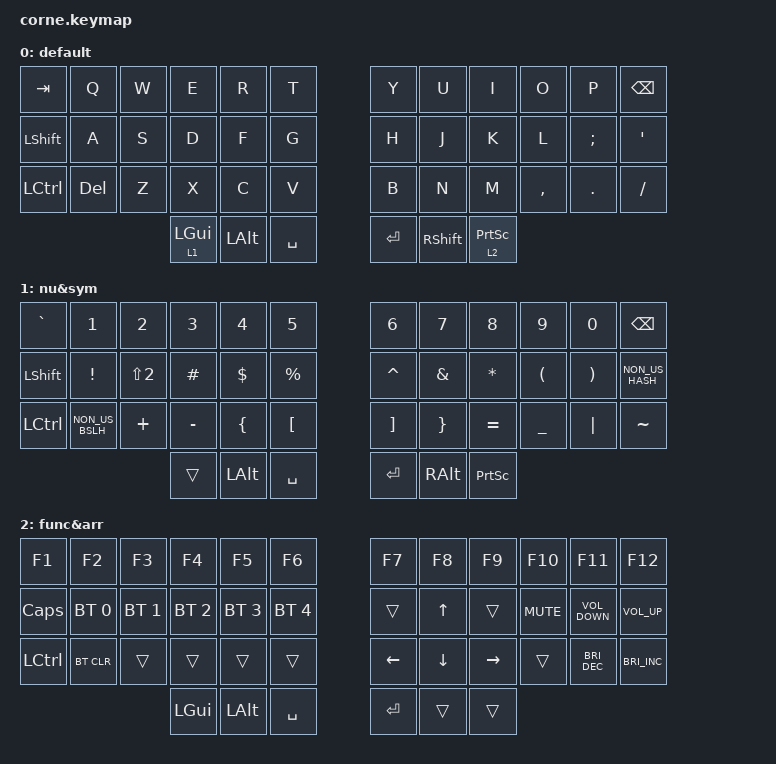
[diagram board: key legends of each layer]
/*
 * Copyright (c) 2020 The ZMK Contributors
 *
 * SPDX-License-Identifier: MIT
 */

#include <behaviors.dtsi>
#include <dt-bindings/zmk/bt.h>
#include <dt-bindings/zmk/keys.h>

/ {
    combos {
        compatible = "zmk,combos";

        Escape {
            bindings = <&kp ESC>;
            key-positions = <0 1>;
        };
    };

    keymap {
        compatible = "zmk,keymap";

        default_layer {
            // -----------------------------------------------------------------------------------------
            // |  TAB |  Q  |  W  |  E  |  R  |  T  |   |  Y  |  U   |  I  |  O  |  P  | BKSP |
            // | CTRL |  A  |  S  |  D  |  F  |  G  |   |  H  |  J   |  K  |  L  |  ;  |  '   |
            // | SHFT |  Z  |  X  |  C  |  V  |  B  |   |  N  |  M   |  ,  |  .  |  /  | ESC  |
            //                    | GUI | LWR | SPC |   | ENT | RSE  | ALT |

            bindings = <
&kp TAB     &kp Q    &kp W  &kp E       &kp R     &kp T        &kp Y      &kp U       &kp I              &kp O      &kp P     &kp BSPC
&kp LSHIFT  &kp A    &kp S  &kp D       &kp F     &kp G        &kp H      &kp J       &kp K              &kp L      &kp SEMI  &kp SQT
&kp LCTRL   &kp DEL  &kp Z  &kp X       &kp C     &kp V        &kp B      &kp N       &kp M              &kp COMMA  &kp DOT   &kp FSLH
                            &lt 1 LGUI  &kp LALT  &kp SPACE    &kp ENTER  &kp RSHIFT  &lt 2 PRINTSCREEN
            >;

            label = "default";
        };

        number+sysmbol {
            // -----------------------------------------------------------------------------------------
            // |  TAB |  1  |  2  |  3  |  4  |  5  |   |  6  |  7  |  8  |  9  |  0  | BKSP |
            // | BTCLR| BT1 | BT2 | BT3 | BT4 | BT5 |   | LFT | DWN |  UP | RGT |     |      |
            // | SHFT |     |     |     |     |     |   |     |     |     |     |     |      |
            //                    | GUI |     | SPC |   | ENT |     | ALT |

            bindings = <
&kp GRAVE   &kp N1           &kp N2            &kp N3     &kp N4          &kp N5         &kp N6     &kp N7           &kp N8           &kp N9                &kp N0                 &kp BSPC
&kp LSHIFT  &kp EXCLAMATION  &kp LS(NUMBER_2)  &kp POUND  &kp DOLLAR      &kp PERCENT    &kp CARET  &kp AMPERSAND    &kp ASTERISK     &kp LEFT_PARENTHESIS  &kp RIGHT_PARENTHESIS  &kp NON_US_HASH
&kp LCTRL   &kp NON_US_BSLH  &kp PLUS          &kp MINUS  &kp LEFT_BRACE  &kp LBKT       &kp RBKT   &kp RIGHT_BRACE  &kp EQUAL        &kp UNDERSCORE        &kp PIPE               &kp TILDE
                                               &trans     &kp LALT        &kp SPACE      &kp ENTER  &kp RALT         &kp PRINTSCREEN
            >;

            label = "nu&sym";
        };

        function+arrow {
            bindings = <
&kp F1        &kp F2        &kp F3        &kp F4        &kp F5        &kp F6          &kp F7     &kp F8    &kp F9     &kp F10     &kp F11               &kp F12
&kp CAPSLOCK  &bt BT_SEL 0  &bt BT_SEL 1  &bt BT_SEL 2  &bt BT_SEL 3  &bt BT_SEL 4    &trans     &kp UP    &trans     &kp K_MUTE  &kp C_VOLUME_DOWN     &kp C_VOLUME_UP
&kp LCTRL     &bt BT_CLR    &trans        &trans        &trans        &trans          &kp LEFT   &kp DOWN  &kp RIGHT  &trans      &kp C_BRIGHTNESS_DEC  &kp C_BRIGHTNESS_INC
                                          &kp LGUI      &kp LALT      &kp SPACE       &kp ENTER  &trans    &trans
            >;

            label = "func&arr";
        };
    };
};
